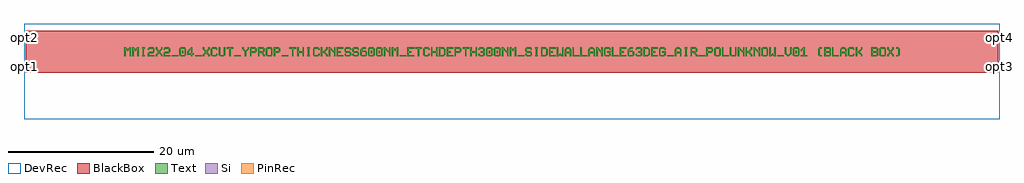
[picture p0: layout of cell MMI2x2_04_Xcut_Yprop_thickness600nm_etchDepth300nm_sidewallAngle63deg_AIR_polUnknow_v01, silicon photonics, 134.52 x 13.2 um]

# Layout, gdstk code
import gdstk
lib = gdstk.Library(unit=1e-6, precision=1e-10)
def R(c, l, rs):  # rectangles x0, y0, x1, y1
    for r in rs: c.add(gdstk.rectangle(r[:2], r[2:], *l))
def A(c, l, x, y, w, h, nx, ny, dx, dy):  # array of equal rectangles
    R(c, l, [(x+i*dx, y+j*dy, x+i*dx+w, y+j*dy+h) for i in range(nx) for j in range(ny)])
def P(c, l, *ps):  # polygons
    for p in ps: c.add(gdstk.Polygon(p, *l))
Si = (1, 0)
PinRec = (1, 10)
Text = (10, 0)
DevRec = (68, 0)
BlackBox = (998, 0)

text = lib.new_cell('TEXT')
A(text, Text, 21.68, 0, 0.903, 0.181, 3, 1, 16.26, 0)
R(text, Text, [(6.504,0,7.407,0.181), (9.756,0,10.659,0.181), (15.176,0,16.079,0.181), (74.796,0,75.699,0.181), (79.132,0,80.035,0.181), (89.972,0,90.875,0.181), (7.949,0.452,8.13,0.813), (33.965,0.452,34.146,0.813), (35.049,0.452,35.23,0.813), (50.225,0.452,50.406,0.813), (51.309,0.452,51.49,0.813), (92.501,0.452,92.682,0.813)])
P(text, Text, [(53.116,0),(53.116,1.264),(53.297,1.264),(53.477,1.084),(53.658,1.084),(53.838,1.264),(54.019,1.264),(54.019,0),(53.838,0),(53.838,0.903),(53.748,0.903),(53.568,0.722),(53.387,0.903),(53.297,0.903),(53.297,0)],
  [(55.465,0),(55.284,0.181),(55.284,0.361),(55.465,0.361),(55.465,0.271),(55.555,0.181),(55.916,0.181),(56.006,0.271),(56.006,0.452),(55.916,0.542),(55.465,0.542),(55.284,0.722),(55.284,1.084),(55.465,1.264),(56.006,1.264),(56.187,1.084),(56.187,0.903),(56.006,0.903),(56.006,0.993),(55.916,1.084),(55.555,1.084),(55.465,0.993),(55.465,0.813),(55.555,0.722),(56.006,0.722),(56.187,0.542),(56.187,0.181),(56.006,0)],
  [(56.639,0),(56.639,0.181),(56.729,0.181),(56.729,1.084),(56.639,1.084),(56.639,1.264),(57,1.264),(57,1.084),(56.91,1.084),(56.91,0.181),(57,0.181),(57,0)],
  [(57.452,0),(57.452,1.264),(58.084,1.264),(58.265,1.084),(57.633,1.084),(57.633,0.181),(57.994,0.181),(58.174,0.361),(58.174,0.903),(57.994,1.084),(58.265,1.084),(58.355,0.993),(58.355,0.271),(58.084,0)],
  [(58.536,0),(58.536,1.264),(59.439,1.264),(59.439,1.084),(58.717,1.084),(58.717,0.722),(59.078,0.722),(59.078,0.542),(58.717,0.542),(58.717,0.181),(59.439,0.181),(59.439,0)],
  [(59.62,0),(59.62,1.264),(59.801,1.264),(59.801,0.271),(59.891,0.271),(60.072,0.452),(60.252,0.271),(60.342,0.271),(60.342,1.264),(60.523,1.264),(60.523,0),(60.252,0),(60.072,0.181),(59.891,0)],
  [(60.704,0),(60.704,0.993),(60.975,1.264),(61.336,1.264),(61.517,1.084),(61.065,1.084),(60.885,0.903),(60.885,0.632),(61.426,0.632),(61.426,0.903),(61.246,1.084),(61.517,1.084),(61.607,0.993),(61.607,0),(61.426,0),(61.426,0.452),(60.885,0.452),(60.885,0)],
  [(61.788,0),(61.788,1.264),(61.969,1.264),(61.969,0.181),(62.691,0.181),(62.691,0)],
  [(62.872,0),(62.872,1.264),(63.053,1.264),(63.053,0.181),(63.775,0.181),(63.775,0)],
  [(63.956,0),(63.956,0.993),(64.227,1.264),(64.588,1.264),(64.769,1.084),(64.317,1.084),(64.137,0.903),(64.137,0.632),(64.678,0.632),(64.678,0.903),(64.498,1.084),(64.769,1.084),(64.859,0.993),(64.859,0),(64.678,0),(64.678,0.452),(64.137,0.452),(64.137,0)],
  [(65.04,0),(65.04,1.264),(65.221,1.264),(65.672,0.813),(65.762,0.813),(65.762,1.264),(65.943,1.264),(65.943,0),(65.762,0),(65.762,0.452),(65.311,0.903),(65.221,0.903),(65.221,0)],
  [(66.305,0),(66.124,0.181),(66.124,1.084),(66.305,1.264),(66.846,1.264),(67.027,1.084),(67.027,0.903),(66.846,0.903),(66.846,0.993),(66.756,1.084),(66.395,1.084),(66.305,0.993),(66.305,0.271),(66.395,0.181),(66.756,0.181),(66.846,0.271),(66.846,0.542),(66.576,0.542),(66.576,0.722),(67.027,0.722),(67.027,0.181),(66.846,0)],
  [(67.208,0),(67.208,1.264),(67.389,1.264),(67.389,0.181),(68.111,0.181),(68.111,0)],
  [(68.292,0),(68.292,1.264),(69.195,1.264),(69.195,1.084),(68.473,1.084),(68.473,0.722),(68.834,0.722),(68.834,0.542),(68.473,0.542),(68.473,0.181),(69.195,0.181),(69.195,0)],
  [(69.557,0),(69.376,0.181),(69.376,0.903),(69.737,1.264),(70.098,1.264),(70.098,1.084),(69.828,1.084),(69.647,0.903),(69.647,0.813),(70.098,0.813),(70.279,0.632),(69.647,0.632),(69.557,0.542),(69.557,0.271),(69.647,0.181),(70.008,0.181),(70.098,0.271),(70.098,0.542),(70.008,0.632),(70.279,0.632),(70.279,0.181),(70.098,0)],
  [(70.641,0),(70.46,0.181),(70.46,0.361),(70.641,0.361),(70.641,0.271),(70.731,0.181),(71.092,0.181),(71.182,0.271),(71.182,0.452),(71.092,0.542),(70.821,0.542),(70.821,0.722),(71.092,0.722),(71.182,0.813),(71.182,0.993),(71.092,1.084),(70.731,1.084),(70.641,0.993),(70.641,0.903),(70.46,0.903),(70.46,1.084),(70.641,1.264),(71.182,1.264),(71.363,1.084),(71.363,0.722),(71.273,0.632),(71.363,0.542),(71.363,0.181),(71.182,0)],
  [(71.544,0),(71.544,1.264),(72.176,1.264),(72.357,1.084),(71.725,1.084),(71.725,0.181),(72.086,0.181),(72.266,0.361),(72.266,0.903),(72.086,1.084),(72.357,1.084),(72.447,0.993),(72.447,0.271),(72.176,0)],
  [(72.628,0),(72.628,1.264),(73.531,1.264),(73.531,1.084),(72.809,1.084),(72.809,0.722),(73.17,0.722),(73.17,0.542),(72.809,0.542),(72.809,0.181),(73.531,0.181),(73.531,0)],
  [(73.893,0),(73.712,0.181),(73.712,1.084),(73.893,1.264),(74.434,1.264),(74.615,1.084),(74.615,0.903),(74.434,0.903),(74.434,0.993),(74.344,1.084),(73.983,1.084),(73.893,0.993),(73.893,0.271),(73.983,0.181),(74.344,0.181),(74.434,0.271),(74.434,0.542),(74.164,0.542),(74.164,0.722),(74.615,0.722),(74.615,0.181),(74.434,0)],
  [(75.88,0),(75.88,0.993),(76.151,1.264),(76.512,1.264),(76.693,1.084),(76.241,1.084),(76.061,0.903),(76.061,0.632),(76.602,0.632),(76.602,0.903),(76.422,1.084),(76.693,1.084),(76.783,0.993),(76.783,0),(76.602,0),(76.602,0.452),(76.061,0.452),(76.061,0)],
  [(77.235,0),(77.235,0.181),(77.325,0.181),(77.325,1.084),(77.235,1.084),(77.235,1.264),(77.596,1.264),(77.596,1.084),(77.506,1.084),(77.506,0.181),(77.596,0.181),(77.596,0)],
  [(78.048,0),(78.048,1.264),(78.77,1.264),(78.951,1.084),(78.229,1.084),(78.229,0.722),(78.68,0.722),(78.77,0.813),(78.77,0.993),(78.68,1.084),(78.951,1.084),(78.951,0.722),(78.77,0.542),(78.77,0.452),(78.951,0.271),(78.951,0),(78.77,0),(78.77,0.181),(78.409,0.542),(78.229,0.542),(78.229,0)],
  [(80.216,0),(80.216,1.264),(80.938,1.264),(81.119,1.084),(81.119,0.722),(80.938,0.542),(80.397,0.542),(80.397,0.722),(80.848,0.722),(80.938,0.813),(80.938,0.993),(80.848,1.084),(80.397,1.084),(80.397,0)],
  [(81.481,0),(81.3,0.181),(81.3,1.084),(81.481,1.264),(82.022,1.264),(82.203,1.084),(82.203,0.632),(82.022,0.632),(82.022,0.993),(81.932,1.084),(81.571,1.084),(81.481,0.993),(81.481,0.271),(81.571,0.181),(81.932,0.181),(82.022,0.271),(82.022,0.632),(82.203,0.632),(82.203,0.181),(82.022,0)],
  [(82.384,0),(82.384,1.264),(82.565,1.264),(82.565,0.181),(83.287,0.181),(83.287,0)],
  [(83.649,0),(83.468,0.181),(83.468,1.264),(83.649,1.264),(83.649,0.271),(83.739,0.181),(84.1,0.181),(84.19,0.271),(84.19,1.264),(84.371,1.264),(84.371,0.181),(84.19,0)],
  [(84.552,0),(84.552,1.264),(84.733,1.264),(85.184,0.813),(85.274,0.813),(85.274,1.264),(85.455,1.264),(85.455,0),(85.274,0),(85.274,0.452),(84.823,0.903),(84.733,0.903),(84.733,0)],
  [(85.636,0),(85.636,1.264),(85.817,1.264),(85.817,0.722),(85.997,0.722),(86.358,1.084),(86.358,1.264),(86.539,1.264),(86.539,0.993),(86.178,0.632),(86.539,0.271),(86.539,0),(86.358,0),(86.358,0.181),(85.997,0.542),(85.817,0.542),(85.817,0)],
  [(86.72,0),(86.72,1.264),(86.901,1.264),(87.352,0.813),(87.442,0.813),(87.442,1.264),(87.623,1.264),(87.623,0),(87.442,0),(87.442,0.452),(86.991,0.903),(86.901,0.903),(86.901,0)],
  [(87.985,0),(87.804,0.181),(87.804,1.084),(87.985,1.264),(88.526,1.264),(88.707,1.084),(88.707,0.632),(88.526,0.632),(88.526,0.993),(88.436,1.084),(88.075,1.084),(87.985,0.993),(87.985,0.271),(88.075,0.181),(88.436,0.181),(88.526,0.271),(88.526,0.632),(88.707,0.632),(88.707,0.181),(88.526,0)],
  [(88.888,0),(88.888,1.264),(89.069,1.264),(89.069,0.271),(89.159,0.271),(89.34,0.452),(89.52,0.271),(89.61,0.271),(89.61,1.264),(89.791,1.264),(89.791,0),(89.52,0),(89.34,0.181),(89.159,0)],
  [(91.417,0),(91.056,0.361),(91.056,1.264),(91.237,1.264),(91.237,0.452),(91.508,0.181),(91.778,0.452),(91.778,1.264),(91.959,1.264),(91.959,0.361),(91.598,0)],
  [(92.321,0),(92.14,0.181),(92.14,1.084),(92.321,1.264),(92.862,1.264),(93.043,1.084),(92.411,1.084),(92.321,0.993),(92.321,0.271),(92.411,0.181),(92.772,0.181),(92.862,0.271),(92.862,0.993),(92.772,1.084),(93.043,1.084),(93.043,0.181),(92.862,0)],
  [(93.224,0),(93.224,0.181),(93.585,0.181),(93.585,0.903),(93.495,0.903),(93.314,0.722),(93.224,0.722),(93.224,0.903),(93.585,1.264),(93.766,1.264),(93.766,0.181),(94.127,0.181),(94.127,0)],
  [(95.844,0),(95.663,0.181),(95.663,1.084),(95.844,1.264),(96.114,1.264),(96.114,1.084),(95.934,1.084),(95.844,0.993),(95.844,0.271),(95.934,0.181),(96.114,0.181),(96.114,0)],
  [(96.476,0),(96.476,1.264),(97.198,1.264),(97.379,1.084),(96.657,1.084),(96.657,0.722),(97.108,0.722),(97.198,0.813),(97.198,0.993),(97.108,1.084),(97.379,1.084),(97.379,0.722),(97.289,0.632),(97.379,0.542),(96.657,0.542),(96.657,0.181),(97.108,0.181),(97.198,0.271),(97.198,0.452),(97.108,0.542),(97.379,0.542),(97.379,0.181),(97.198,0)],
  [(97.56,0),(97.56,1.264),(97.741,1.264),(97.741,0.181),(98.463,0.181),(98.463,0)],
  [(98.644,0),(98.644,0.993),(98.915,1.264),(99.276,1.264),(99.457,1.084),(99.005,1.084),(98.825,0.903),(98.825,0.632),(99.366,0.632),(99.366,0.903),(99.186,1.084),(99.457,1.084),(99.547,0.993),(99.547,0),(99.366,0),(99.366,0.452),(98.825,0.452),(98.825,0)],
  [(99.909,0),(99.728,0.181),(99.728,1.084),(99.909,1.264),(100.45,1.264),(100.631,1.084),(100.631,0.903),(100.45,0.903),(100.45,0.993),(100.36,1.084),(99.999,1.084),(99.909,0.993),(99.909,0.271),(99.999,0.181),(100.36,0.181),(100.45,0.271),(100.45,0.361),(100.631,0.361),(100.631,0.181),(100.45,0)],
  [(100.812,0),(100.812,1.264),(100.993,1.264),(100.993,0.722),(101.173,0.722),(101.534,1.084),(101.534,1.264),(101.715,1.264),(101.715,0.993),(101.354,0.632),(101.715,0.271),(101.715,0),(101.534,0),(101.534,0.181),(101.173,0.542),(100.993,0.542),(100.993,0)],
  [(102.98,0),(102.98,1.264),(103.702,1.264),(103.883,1.084),(103.161,1.084),(103.161,0.722),(103.612,0.722),(103.702,0.813),(103.702,0.993),(103.612,1.084),(103.883,1.084),(103.883,0.722),(103.793,0.632),(103.883,0.542),(103.161,0.542),(103.161,0.181),(103.612,0.181),(103.702,0.271),(103.702,0.452),(103.612,0.542),(103.883,0.542),(103.883,0.181),(103.702,0)],
  [(104.245,0),(104.064,0.181),(104.064,1.084),(104.245,1.264),(104.786,1.264),(104.967,1.084),(104.967,0.632),(104.786,0.632),(104.786,0.993),(104.696,1.084),(104.335,1.084),(104.245,0.993),(104.245,0.271),(104.335,0.181),(104.696,0.181),(104.786,0.271),(104.786,0.632),(104.967,0.632),(104.967,0.181),(104.786,0)],
  [(105.148,0),(105.148,0.271),(105.419,0.542),(105.419,0.722),(105.148,0.993),(105.148,1.264),(105.329,1.264),(105.329,1.084),(105.6,0.813),(105.87,1.084),(105.87,1.264),(106.051,1.264),(106.051,0.993),(105.78,0.722),(105.78,0.542),(106.051,0.271),(106.051,0),(105.87,0),(105.87,0.181),(105.6,0.452),(105.329,0.181),(105.329,0)],
  [(106.413,0),(106.413,0.181),(106.593,0.181),(106.684,0.271),(106.684,0.993),(106.593,1.084),(106.413,1.084),(106.413,1.264),(106.684,1.264),(106.864,1.084),(106.864,0.181),(106.684,0)],
  [(50.045,0),(49.864,0.181),(49.864,1.084),(50.045,1.264),(50.586,1.264),(50.767,1.084),(50.135,1.084),(50.045,0.993),(50.045,0.271),(50.135,0.181),(50.496,0.181),(50.586,0.271),(50.586,0.993),(50.496,1.084),(50.767,1.084),(50.767,0.181),(50.586,0)],
  [(51.129,0),(50.948,0.181),(50.948,1.084),(51.129,1.264),(51.67,1.264),(51.851,1.084),(51.219,1.084),(51.129,0.993),(51.129,0.271),(51.219,0.181),(51.58,0.181),(51.67,0.271),(51.67,0.993),(51.58,1.084),(51.851,1.084),(51.851,0.181),(51.67,0)],
  [(52.032,0),(52.032,1.264),(52.213,1.264),(52.664,0.813),(52.754,0.813),(52.754,1.264),(52.935,1.264),(52.935,0),(52.754,0),(52.754,0.452),(52.303,0.903),(52.213,0.903),(52.213,0)],
  [(0,0),(0,1.264),(0.181,1.264),(0.361,1.084),(0.542,1.084),(0.722,1.264),(0.903,1.264),(0.903,0),(0.722,0),(0.722,0.903),(0.632,0.903),(0.452,0.722),(0.271,0.903),(0.181,0.903),(0.181,0)],
  [(1.084,0),(1.084,1.264),(1.265,1.264),(1.445,1.084),(1.626,1.084),(1.806,1.264),(1.987,1.264),(1.987,0),(1.806,0),(1.806,0.903),(1.716,0.903),(1.536,0.722),(1.355,0.903),(1.265,0.903),(1.265,0)],
  [(2.439,0),(2.439,0.181),(2.529,0.181),(2.529,1.084),(2.439,1.084),(2.439,1.264),(2.8,1.264),(2.8,1.084),(2.71,1.084),(2.71,0.181),(2.8,0.181),(2.8,0)],
  [(3.252,0),(3.252,0.452),(3.433,0.632),(3.884,0.632),(3.974,0.722),(3.974,0.993),(3.884,1.084),(3.523,1.084),(3.433,0.993),(3.433,0.903),(3.252,0.903),(3.252,1.084),(3.433,1.264),(3.974,1.264),(4.155,1.084),(4.155,0.632),(3.974,0.452),(3.523,0.452),(3.433,0.361),(3.433,0.181),(4.155,0.181),(4.155,0)],
  [(4.336,0),(4.336,0.271),(4.607,0.542),(4.607,0.722),(4.336,0.993),(4.336,1.264),(4.517,1.264),(4.517,1.084),(4.788,0.813),(5.058,1.084),(5.058,1.264),(5.239,1.264),(5.239,0.993),(4.968,0.722),(4.968,0.542),(5.239,0.271),(5.239,0),(5.058,0),(5.058,0.181),(4.788,0.452),(4.517,0.181),(4.517,0)],
  [(5.42,0),(5.42,0.452),(5.601,0.632),(6.052,0.632),(6.142,0.722),(6.142,0.993),(6.052,1.084),(5.691,1.084),(5.601,0.993),(5.601,0.903),(5.42,0.903),(5.42,1.084),(5.601,1.264),(6.142,1.264),(6.323,1.084),(6.323,0.632),(6.142,0.452),(5.691,0.452),(5.601,0.361),(5.601,0.181),(6.323,0.181),(6.323,0)],
  [(7.769,0),(7.588,0.181),(7.588,1.084),(7.769,1.264),(8.31,1.264),(8.491,1.084),(7.859,1.084),(7.769,0.993),(7.769,0.271),(7.859,0.181),(8.22,0.181),(8.31,0.271),(8.31,0.993),(8.22,1.084),(8.491,1.084),(8.491,0.181),(8.31,0)],
  [(9.214,0),(9.214,0.271),(8.672,0.271),(8.672,0.452),(9.214,0.452),(9.214,0.903),(9.124,0.903),(8.853,0.632),(8.853,0.452),(8.672,0.452),(8.672,0.722),(9.214,1.264),(9.394,1.264),(9.394,0.452),(9.575,0.452),(9.575,0.271),(9.394,0.271),(9.394,0)],
  [(10.84,0),(10.84,0.271),(11.111,0.542),(11.111,0.722),(10.84,0.993),(10.84,1.264),(11.021,1.264),(11.021,1.084),(11.292,0.813),(11.562,1.084),(11.562,1.264),(11.743,1.264),(11.743,0.993),(11.472,0.722),(11.472,0.542),(11.743,0.271),(11.743,0),(11.562,0),(11.562,0.181),(11.292,0.452),(11.021,0.181),(11.021,0)],
  [(12.105,0),(11.924,0.181),(11.924,1.084),(12.105,1.264),(12.646,1.264),(12.827,1.084),(12.827,0.903),(12.646,0.903),(12.646,0.993),(12.556,1.084),(12.195,1.084),(12.105,0.993),(12.105,0.271),(12.195,0.181),(12.556,0.181),(12.646,0.271),(12.646,0.361),(12.827,0.361),(12.827,0.181),(12.646,0)],
  [(13.189,0),(13.008,0.181),(13.008,1.264),(13.189,1.264),(13.189,0.271),(13.279,0.181),(13.64,0.181),(13.73,0.271),(13.73,1.264),(13.911,1.264),(13.911,0.181),(13.73,0)],
  [(14.453,0),(14.453,1.084),(14.092,1.084),(14.092,1.264),(14.995,1.264),(14.995,1.084),(14.634,1.084),(14.634,0)],
  [(16.621,0),(16.621,0.632),(16.26,0.993),(16.26,1.264),(16.441,1.264),(16.441,1.084),(16.712,0.813),(16.982,1.084),(16.982,1.264),(17.163,1.264),(17.163,0.993),(16.802,0.632),(16.802,0)],
  [(17.344,0),(17.344,1.264),(18.066,1.264),(18.247,1.084),(18.247,0.722),(18.066,0.542),(17.525,0.542),(17.525,0.722),(17.976,0.722),(18.066,0.813),(18.066,0.993),(17.976,1.084),(17.525,1.084),(17.525,0)],
  [(18.428,0),(18.428,1.264),(19.15,1.264),(19.331,1.084),(18.609,1.084),(18.609,0.722),(19.06,0.722),(19.15,0.813),(19.15,0.993),(19.06,1.084),(19.331,1.084),(19.331,0.722),(19.15,0.542),(19.15,0.452),(19.331,0.271),(19.331,0),(19.15,0),(19.15,0.181),(18.789,0.542),(18.609,0.542),(18.609,0)],
  [(19.693,0),(19.512,0.181),(19.512,1.084),(19.693,1.264),(20.234,1.264),(20.415,1.084),(20.415,0.632),(20.234,0.632),(20.234,0.993),(20.144,1.084),(19.783,1.084),(19.693,0.993),(19.693,0.271),(19.783,0.181),(20.144,0.181),(20.234,0.271),(20.234,0.632),(20.415,0.632),(20.415,0.181),(20.234,0)],
  [(20.596,0),(20.596,1.264),(21.318,1.264),(21.499,1.084),(21.499,0.722),(21.318,0.542),(20.777,0.542),(20.777,0.722),(21.228,0.722),(21.318,0.813),(21.318,0.993),(21.228,1.084),(20.777,1.084),(20.777,0)],
  [(23.125,0),(23.125,1.084),(22.764,1.084),(22.764,1.264),(23.667,1.264),(23.667,1.084),(23.306,1.084),(23.306,0)],
  [(23.848,0),(23.848,1.264),(24.029,1.264),(24.029,0.722),(24.57,0.722),(24.57,1.264),(24.751,1.264),(24.751,0),(24.57,0),(24.57,0.542),(24.029,0.542),(24.029,0)],
  [(25.203,0),(25.203,0.181),(25.293,0.181),(25.293,1.084),(25.203,1.084),(25.203,1.264),(25.564,1.264),(25.564,1.084),(25.474,1.084),(25.474,0.181),(25.564,0.181),(25.564,0)],
  [(26.197,0),(26.016,0.181),(26.016,1.084),(26.197,1.264),(26.738,1.264),(26.919,1.084),(26.919,0.903),(26.738,0.903),(26.738,0.993),(26.648,1.084),(26.287,1.084),(26.197,0.993),(26.197,0.271),(26.287,0.181),(26.648,0.181),(26.738,0.271),(26.738,0.361),(26.919,0.361),(26.919,0.181),(26.738,0)],
  [(27.1,0),(27.1,1.264),(27.281,1.264),(27.281,0.722),(27.461,0.722),(27.822,1.084),(27.822,1.264),(28.003,1.264),(28.003,0.993),(27.642,0.632),(28.003,0.271),(28.003,0),(27.822,0),(27.822,0.181),(27.461,0.542),(27.281,0.542),(27.281,0)],
  [(28.184,0),(28.184,1.264),(28.365,1.264),(28.816,0.813),(28.906,0.813),(28.906,1.264),(29.087,1.264),(29.087,0),(28.906,0),(28.906,0.452),(28.455,0.903),(28.365,0.903),(28.365,0)],
  [(29.268,0),(29.268,1.264),(30.171,1.264),(30.171,1.084),(29.449,1.084),(29.449,0.722),(29.81,0.722),(29.81,0.542),(29.449,0.542),(29.449,0.181),(30.171,0.181),(30.171,0)],
  [(30.533,0),(30.352,0.181),(30.352,0.361),(30.533,0.361),(30.533,0.271),(30.623,0.181),(30.984,0.181),(31.074,0.271),(31.074,0.452),(30.984,0.542),(30.533,0.542),(30.352,0.722),(30.352,1.084),(30.533,1.264),(31.074,1.264),(31.255,1.084),(31.255,0.903),(31.074,0.903),(31.074,0.993),(30.984,1.084),(30.623,1.084),(30.533,0.993),(30.533,0.813),(30.623,0.722),(31.074,0.722),(31.255,0.542),(31.255,0.181),(31.074,0)],
  [(31.617,0),(31.436,0.181),(31.436,0.361),(31.617,0.361),(31.617,0.271),(31.707,0.181),(32.068,0.181),(32.158,0.271),(32.158,0.452),(32.068,0.542),(31.617,0.542),(31.436,0.722),(31.436,1.084),(31.617,1.264),(32.158,1.264),(32.339,1.084),(32.339,0.903),(32.158,0.903),(32.158,0.993),(32.068,1.084),(31.707,1.084),(31.617,0.993),(31.617,0.813),(31.707,0.722),(32.158,0.722),(32.339,0.542),(32.339,0.181),(32.158,0)],
  [(32.701,0),(32.52,0.181),(32.52,0.903),(32.881,1.264),(33.242,1.264),(33.242,1.084),(32.972,1.084),(32.791,0.903),(32.791,0.813),(33.242,0.813),(33.423,0.632),(32.791,0.632),(32.701,0.542),(32.701,0.271),(32.791,0.181),(33.152,0.181),(33.242,0.271),(33.242,0.542),(33.152,0.632),(33.423,0.632),(33.423,0.181),(33.242,0)],
  [(33.785,0),(33.604,0.181),(33.604,1.084),(33.785,1.264),(34.326,1.264),(34.507,1.084),(33.875,1.084),(33.785,0.993),(33.785,0.271),(33.875,0.181),(34.236,0.181),(34.326,0.271),(34.326,0.993),(34.236,1.084),(34.507,1.084),(34.507,0.181),(34.326,0)],
  [(34.869,0),(34.688,0.181),(34.688,1.084),(34.869,1.264),(35.41,1.264),(35.591,1.084),(34.959,1.084),(34.869,0.993),(34.869,0.271),(34.959,0.181),(35.32,0.181),(35.41,0.271),(35.41,0.993),(35.32,1.084),(35.591,1.084),(35.591,0.181),(35.41,0)],
  [(35.772,0),(35.772,1.264),(35.953,1.264),(36.404,0.813),(36.494,0.813),(36.494,1.264),(36.675,1.264),(36.675,0),(36.494,0),(36.494,0.452),(36.043,0.903),(35.953,0.903),(35.953,0)],
  [(36.856,0),(36.856,1.264),(37.037,1.264),(37.217,1.084),(37.398,1.084),(37.578,1.264),(37.759,1.264),(37.759,0),(37.578,0),(37.578,0.903),(37.488,0.903),(37.308,0.722),(37.127,0.903),(37.037,0.903),(37.037,0)],
  [(39.024,0),(39.024,1.264),(39.927,1.264),(39.927,1.084),(39.205,1.084),(39.205,0.722),(39.566,0.722),(39.566,0.542),(39.205,0.542),(39.205,0.181),(39.927,0.181),(39.927,0)],
  [(40.469,0),(40.469,1.084),(40.108,1.084),(40.108,1.264),(41.011,1.264),(41.011,1.084),(40.65,1.084),(40.65,0)],
  [(41.373,0),(41.192,0.181),(41.192,1.084),(41.373,1.264),(41.914,1.264),(42.095,1.084),(42.095,0.903),(41.914,0.903),(41.914,0.993),(41.824,1.084),(41.463,1.084),(41.373,0.993),(41.373,0.271),(41.463,0.181),(41.824,0.181),(41.914,0.271),(41.914,0.361),(42.095,0.361),(42.095,0.181),(41.914,0)],
  [(42.276,0),(42.276,1.264),(42.457,1.264),(42.457,0.722),(42.998,0.722),(42.998,1.264),(43.179,1.264),(43.179,0),(42.998,0),(42.998,0.542),(42.457,0.542),(42.457,0)],
  [(43.36,0),(43.36,1.264),(43.992,1.264),(44.173,1.084),(43.541,1.084),(43.541,0.181),(43.902,0.181),(44.082,0.361),(44.082,0.903),(43.902,1.084),(44.173,1.084),(44.263,0.993),(44.263,0.271),(43.992,0)],
  [(44.444,0),(44.444,1.264),(45.347,1.264),(45.347,1.084),(44.625,1.084),(44.625,0.722),(44.986,0.722),(44.986,0.542),(44.625,0.542),(44.625,0.181),(45.347,0.181),(45.347,0)],
  [(45.528,0),(45.528,1.264),(46.25,1.264),(46.431,1.084),(46.431,0.722),(46.25,0.542),(45.709,0.542),(45.709,0.722),(46.16,0.722),(46.25,0.813),(46.25,0.993),(46.16,1.084),(45.709,1.084),(45.709,0)],
  [(46.973,0),(46.973,1.084),(46.612,1.084),(46.612,1.264),(47.515,1.264),(47.515,1.084),(47.154,1.084),(47.154,0)],
  [(47.696,0),(47.696,1.264),(47.877,1.264),(47.877,0.722),(48.418,0.722),(48.418,1.264),(48.599,1.264),(48.599,0),(48.418,0),(48.418,0.542),(47.877,0.542),(47.877,0)],
  [(48.961,0),(48.78,0.181),(48.78,0.361),(48.961,0.361),(48.961,0.271),(49.051,0.181),(49.412,0.181),(49.502,0.271),(49.502,0.452),(49.412,0.542),(49.141,0.542),(49.141,0.722),(49.412,0.722),(49.502,0.813),(49.502,0.993),(49.412,1.084),(49.051,1.084),(48.961,0.993),(48.961,0.903),(48.78,0.903),(48.78,1.084),(48.961,1.264),(49.502,1.264),(49.683,1.084),(49.683,0.722),(49.593,0.632),(49.683,0.542),(49.683,0.181),(49.502,0)])

mmi2x2_04_xcut_yprop_thi = lib.new_cell('MMI2x2_04_Xcut_Yprop_thickness600nm_etchDepth300nm_sidewallAngle63deg_AIR_polUnknow_v01')
R(mmi2x2_04_xcut_yprop_thi, Si, [(-67.25,-2.7,-67.05,-1.3), (67.05,-2.7,67.25,-1.3), (-67.25,1.3,-67.05,2.7), (67.05,1.3,67.25,2.7)])
R(mmi2x2_04_xcut_yprop_thi, DevRec, [(-67.25,-9.3,67.25,3.9)])
R(mmi2x2_04_xcut_yprop_thi, BlackBox, [(-67.05,-2.9,67.05,2.9)])
mmi2x2_04_xcut_yprop_thi.add(gdstk.FlexPath([(-67.24,-2),(-67.26,-2)], 1.4, ends="flush", simple_path=True, layer=1, datatype=10))  # PinRec
mmi2x2_04_xcut_yprop_thi.add(gdstk.FlexPath([(-67.24,2),(-67.26,2)], 1.4, ends="flush", simple_path=True, layer=1, datatype=10))  # PinRec
mmi2x2_04_xcut_yprop_thi.add(gdstk.FlexPath([(67.24,-2),(67.26,-2)], 1.4, ends="flush", simple_path=True, layer=1, datatype=10))  # PinRec
mmi2x2_04_xcut_yprop_thi.add(gdstk.FlexPath([(67.24,2),(67.26,2)], 1.4, ends="flush", simple_path=True, layer=1, datatype=10))  # PinRec
mmi2x2_04_xcut_yprop_thi.add(gdstk.Reference(text, (-53.432,-0.632)))
mmi2x2_04_xcut_yprop_thi.add(gdstk.Label('opt1', (-67.25,-2), layer=1, texttype=10))
mmi2x2_04_xcut_yprop_thi.add(gdstk.Label('opt2', (-67.25,2), layer=1, texttype=10))
mmi2x2_04_xcut_yprop_thi.add(gdstk.Label('opt3', (67.25,-2), layer=1, texttype=10))
mmi2x2_04_xcut_yprop_thi.add(gdstk.Label('opt4', (67.25,2), layer=1, texttype=10))
mmi2x2_04_xcut_yprop_thi.add(gdstk.Label('By Songliang Chen, 2026/10/13', (-66.75,-3.4), layer=10, texttype=0))

lib.write_gds('MMI2x2_04_Xcut_Yprop_thickness600nm_etchDepth300nm_sidewallAngle63deg_AIR_polUnknow_v01.gds')
